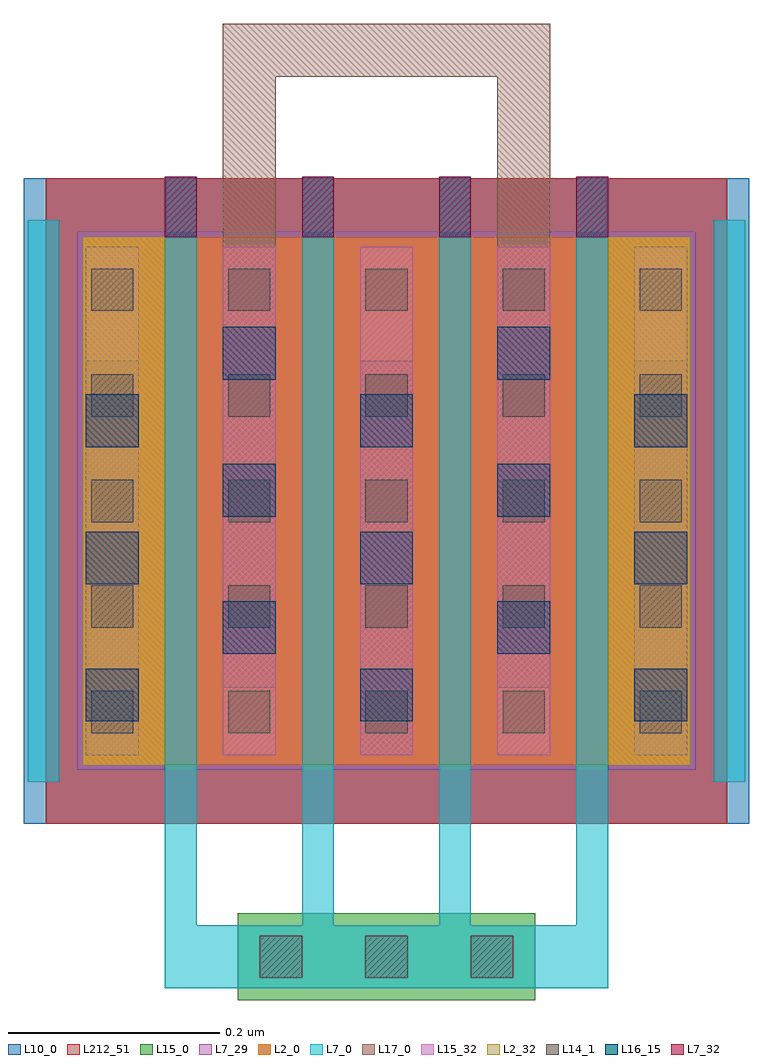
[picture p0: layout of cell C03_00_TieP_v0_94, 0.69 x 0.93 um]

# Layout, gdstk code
import gdstk
lib = gdstk.Library(unit=1e-6, precision=1e-09)
def R(c, l, rs):  # rectangles x0, y0, x1, y1
    for r in rs: c.add(gdstk.rectangle(r[:2], r[2:], *l))
def A(c, l, x, y, w, h, nx, ny, dx, dy):  # array of equal rectangles
    R(c, l, [(x+i*dx, y+j*dy, x+i*dx+w, y+j*dy+h) for i in range(nx) for j in range(ny)])
L2_0 = (2, 0)
L2_32 = (2, 32)
L7_0 = (7, 0)
L7_29 = (7, 29)
L7_32 = (7, 32)
L10_0 = (10, 0)
L14_1 = (14, 1)
L15_0 = (15, 0)
L15_32 = (15, 32)
L16_15 = (16, 15)
L17_0 = (17, 0)
L212_51 = (212, 51)

c03_00_tiep_v0_94_srf_pm = lib.new_cell('C03_00_TieP_v0_94:SRF_PMOS:SRF_Source_ViaM1M2:SRF_ViaM1M2')
R(c03_00_tiep_v0_94_srf_pm, L15_0, [(0,-0.292,0.05,0.082)])
A(c03_00_tiep_v0_94_srf_pm, L16_15, 0, -0.26, 0.05, 0.05, 1, 3, 0, 0.13)
R(c03_00_tiep_v0_94_srf_pm, L17_0, [(0,-0.292,0.05,0.082)])

c_c03_00_tiep_v0_94_srf_pm = lib.new_cell('C03_00_TieP_v0_94:SRF_PMOS:SRF_Source_ViaM1M2')
c_c03_00_tiep_v0_94_srf_pm.add(gdstk.Reference(c03_00_tiep_v0_94_srf_pm, (-0.025,0.105)))

c_c03_00_tiep_v0_94_srf_pm_ = lib.new_cell('C03_00_TieP_v0_94:SRF_PMOS:SRF_Drain_ViaM1M2:SRF_ViaM1M2')
R(c_c03_00_tiep_v0_94_srf_pm_, L15_0, [(0,-0.292,0.05,0.082)])
A(c_c03_00_tiep_v0_94_srf_pm_, L16_15, 0, -0.26, 0.05, 0.05, 1, 3, 0, 0.13)
R(c_c03_00_tiep_v0_94_srf_pm_, L17_0, [(0,-0.292,0.05,0.082)])

c_c03_00_tiep_v0_94_srf_pm__ = lib.new_cell('C03_00_TieP_v0_94:SRF_PMOS:SRF_Drain_ViaM1M2')
c_c03_00_tiep_v0_94_srf_pm__.add(gdstk.Reference(c_c03_00_tiep_v0_94_srf_pm_, (-0.025,0.105)))

c_c03_00_tiep_v0_94_srf_pm___ = lib.new_cell('C03_00_TieP_v0_94:SRF_PMOS')
R(c_c03_00_tiep_v0_94_srf_pm___, L2_0, [(-0.078,0.057,0.498,0.557)])
R(c_c03_00_tiep_v0_94_srf_pm___, L2_32, [(-0.078,0.057,0,0.557), (0.42,0.057,0.498,0.557)])
A(c_c03_00_tiep_v0_94_srf_pm___, L7_0, 0, 0, 0.03, 0.614, 4, 1, 0.13, 0)
R(c_c03_00_tiep_v0_94_srf_pm___, L7_0, [(-0.13,0.041,-0.1,0.573), (0.52,0.041,0.55,0.573)])
R(c_c03_00_tiep_v0_94_srf_pm___, L7_29, [(-0.083,0.052,0.503,0.562)])
A(c_c03_00_tiep_v0_94_srf_pm___, L7_32, 0, 0.557, 0.03, 0.057, 4, 1, 0.13, 0)
R(c_c03_00_tiep_v0_94_srf_pm___, L10_0, [(-0.134,0.001,0.554,0.613)])
A(c_c03_00_tiep_v0_94_srf_pm___, L14_1, -0.07, 0.087, 0.04, 0.04, 5, 5, 0.13, 0.1)
R(c_c03_00_tiep_v0_94_srf_pm___, L15_0, [(-0.075,0.066,-0.025,0.548), (-0.075,0.066,-0.025,0.548), (0.055,0.066,0.105,0.548), (0.055,0.066,0.105,0.548), (0.185,0.066,0.235,0.548), (0.185,0.066,0.235,0.548), (0.315,0.066,0.365,0.548), (0.315,0.066,0.365,0.548), (0.445,0.066,0.495,0.548), (0.445,0.066,0.495,0.548)])
A(c_c03_00_tiep_v0_94_srf_pm___, L15_32, -0.075, 0.066, 0.05, 0.482, 5, 1, 0.13, 0)
R(c_c03_00_tiep_v0_94_srf_pm___, L212_51, [(-0.113,0.001,0.533,0.613)])
c_c03_00_tiep_v0_94_srf_pm___.add(gdstk.Reference(c_c03_00_tiep_v0_94_srf_pm, (-0.05,0.253)))
c_c03_00_tiep_v0_94_srf_pm___.add(gdstk.Reference(c_c03_00_tiep_v0_94_srf_pm, (0.21,0.253)))
c_c03_00_tiep_v0_94_srf_pm___.add(gdstk.Reference(c_c03_00_tiep_v0_94_srf_pm, (0.47,0.253)))
c_c03_00_tiep_v0_94_srf_pm___.add(gdstk.Reference(c_c03_00_tiep_v0_94_srf_pm__, (0.08,0.317)))
c_c03_00_tiep_v0_94_srf_pm___.add(gdstk.Reference(c_c03_00_tiep_v0_94_srf_pm__, (0.34,0.317)))

c_c03_00_tiep_v0_94_srf_pm____ = lib.new_cell('C03_00_TieP_v0_94:SRF_PMOS_Gate_ViaM0M1:SRF_ViaM0M1')
R(c_c03_00_tiep_v0_94_srf_pm____, L7_0, [(-0.01,-0.01,0.25,0.05)])
A(c_c03_00_tiep_v0_94_srf_pm____, L14_1, 0, 0, 0.04, 0.04, 3, 1, 0.1, 0)
R(c_c03_00_tiep_v0_94_srf_pm____, L15_0, [(-0.021,-0.021,0.261,0.061)])

c_c03_00_tiep_v0_94_srf_pm_____ = lib.new_cell('C03_00_TieP_v0_94:SRF_PMOS_Gate_ViaM0M1')
c_c03_00_tiep_v0_94_srf_pm_____.add(gdstk.Reference(c_c03_00_tiep_v0_94_srf_pm____, (-0.12,-0.02)))

c03_00_tiep_v0_94 = lib.new_cell('C03_00_TieP_v0_94')
A(c03_00_tiep_v0_94, L7_0, 0, -0.095, 0.03, 0.095, 4, 1, 0.13, 0)
R(c03_00_tiep_v0_94, L7_0, [(0,-0.155,0.42,-0.095)])
R(c03_00_tiep_v0_94, L17_0, [(0.055,0.504,0.105,0.709), (0.315,0.504,0.365,0.709), (0.055,0.709,0.365,0.759)])
c03_00_tiep_v0_94.add(gdstk.Reference(c_c03_00_tiep_v0_94_srf_pm___, (0,0)))
c03_00_tiep_v0_94.add(gdstk.Reference(c_c03_00_tiep_v0_94_srf_pm_____, (0.21,-0.125)))

lib.write_gds('C03_00_TieP_v0_94.gds')
